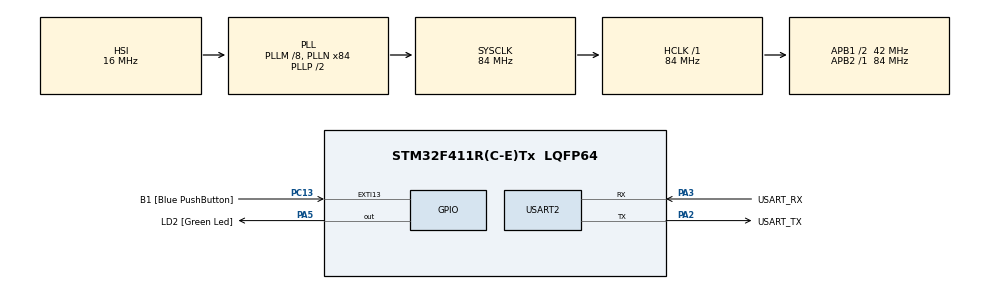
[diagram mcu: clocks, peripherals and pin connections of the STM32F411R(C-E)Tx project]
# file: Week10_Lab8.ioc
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Mcu.Family=STM32F4
PC15-OSC32_OUT.Mode=LSE-External-Oscillator
RCC.CortexFreq_Value=84000000
PC13-ANTI_TAMP.GPIO_PuPd=GPIO_PULLUP
PC13-ANTI_TAMP.GPIO_Label=B1 [Blue PushButton]
PA14.GPIO_Label=TCK
PH1\ -\ OSC_OUT.Mode=HSE-External-Clock-Source
RCC.APB1CLKDivider=RCC_HCLK_DIV2
PC14-OSC32_IN.Signal=RCC_OSC32_IN
NVIC.USART2_IRQn=true\:0\:0\:false\:false\:true\:true\:true
RCC.SYSCLKSource=RCC_SYSCLKSOURCE_PLLCLK
ProjectManager.StackSize=0x400
PA13.Signal=SYS_JTMS-SWDIO
PA3.Mode=Asynchronous
PH0\ -\ OSC_IN.Mode=HSE-External-Clock-Source
PH0\ -\ OSC_IN.Signal=RCC_OSC_IN
ProjectManager.TargetToolchain=STM32CubeIDE
RCC.HCLKFreq_Value=84000000
RCC.APB2TimFreq_Value=84000000
PC15-OSC32_OUT.Signal=RCC_OSC32_OUT
RCC.AHBFreq_Value=84000000
NVIC.EXTI15_10_IRQn=true\:0\:0\:false\:false\:true\:true\:true
PA5.Signal=GPIO_Output
RCC.HSE_VALUE=8000000
PH1\ -\ OSC_OUT.Signal=RCC_OSC_OUT
board=NUCLEO-F411RE
PC13-ANTI_TAMP.Signal=GPXTI13
RCC.VCOOutputFreq_Value=168000000
RCC.APB2Freq_Value=84000000
PC14-OSC32_IN.Mode=LSE-External-Oscillator
PA14.Mode=Serial_Wire
PA13.Mode=Serial_Wire
Mcu.Name=STM32F411R(C-E)Tx
PA2.Signal=USART2_TX
PA13.GPIO_Label=TMS
RCC.FLatency-AdvancedSettings=FLASH_LATENCY_2
RCC.48MHZClocksFreq_Value=42000000
PB3.Signal=SYS_JTDO-SWO
RCC.SYSCLKFreq_VALUE=84000000
Mcu.Package=LQFP64
PA5.GPIO_Label=LD2 [Green Led]
USART2.VirtualMode=VM_ASYNC
PC13-ANTI_TAMP.GPIO_ModeDefaultEXTI=GPIO_MODE_IT_RISING_FALLING
PA2.GPIO_Label=USART_TX
PA14.Signal=SYS_JTCK-SWCLK
ProjectManager.HeapSize=0x200
RCC.HSI_VALUE=16000000
NVIC.PriorityGroup=NVIC_PRIORITYGROUP_0
RCC.PLLM=8
RCC.PLLN=84
RCC.APB1TimFreq_Value=84000000
PA2.Mode=Asynchronous
RCC.APB1Freq_Value=42000000
PA3.GPIO_Label=USART_RX
PA3.Signal=USART2_RX
PB3.GPIO_Label=SWO

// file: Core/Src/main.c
/* USER CODE BEGIN Header */
/**
 ******************************************************************************
 * @file           : main.c
 * @brief          : Main program body
 ******************************************************************************
 * @attention
 *
 * <h2><center>&copy; Copyright (c) 2021 STMicroelectronics.
 * All rights reserved.</center></h2>
 *
 * This software component is licensed by ST under BSD 3-Clause license,
 * the "License"; You may not use this file except in compliance with the
 * License. You may obtain a copy of the License at:
 *                        opensource.org/licenses/BSD-3-Clause
 *
 ******************************************************************************
 */
/* USER CODE END Header */
#include "main.h"

/* USER CODE BEGIN Includes */
#include <stdio.h>//sprintf
#include <string.h>//strlenght
/* USER CODE END Includes */

UART_HandleTypeDef huart2;

/* USER CODE BEGIN PV */

char LEDFrequency[20] = { 0 };
char TxDataBuffer[32] = { 0 };
char RxDataBuffer[32] = { 0 };
enum _StateDisplay {
	State_Start = 0,
	State_Mainmenu_Print = 10,
	State_Mainmenu_Wait,
	State_LEDMenu_Print,
	State_LEDMenu_Wait,
	State_ButtonMenu_Print = 20,
	State_ButtonMenu_Wait
};

uint8_t STATE = 0;
float f = 1;
uint32_t LED_HalfPeriod = 500 ;
uint32_t TimeStamp = 0;
uint8_t LEDBlink = 0;

uint8_t Freq = 0;
uint8_t Interrupt = 1;
/* USER CODE END PV */

void SystemClock_Config(void);
static void MX_GPIO_Init(void);
static void MX_USART2_UART_Init(void);
/* USER CODE BEGIN PFP */
void UARTRecieveAndResponsePolling();
int16_t UARTRecieveIT();
int16_t UARTRecieveIT();
/* USER CODE END PFP */

int main(void)
{

  /* MCU Configuration--------------------------------------------------------*/

  /* Reset of all peripherals, Initializes the Flash interface and the Systick. */
  HAL_Init();

  /* Configure the system clock */
  SystemClock_Config();

  /* Initialize all configured peripherals */
  MX_GPIO_Init();
  MX_USART2_UART_Init();
  /* USER CODE BEGIN 2 */

	HAL_GPIO_WritePin(LD2_GPIO_Port, LD2_Pin, RESET);
  /* USER CODE END 2 */

  /* Infinite loop */
	while (1) {

    /* USER CODE BEGIN 3 */

		/*Method 2 Interrupt Mode*/
		HAL_UART_Receive_IT(&huart2, (uint8_t*) RxDataBuffer, 32);

		/*Method 2 W/ 1 Char Received*/
		int16_t inputchar = UARTRecieveIT();

		switch (STATE) {

		case State_Start:
			STATE = State_Mainmenu_Print;
			break;

		case State_Mainmenu_Print:

		{
			char Mainmenu[] =
					"Main Menu\r\n 0.LED Control\r\n 1.Button Status\r\n";
			HAL_UART_Transmit(&huart2, (uint8_t*) Mainmenu, strlen(Mainmenu),
					100);
		}

			STATE = State_Mainmenu_Wait;
			break;

		case State_Mainmenu_Wait:

			if(inputchar != -1){

				switch (inputchar)
				{
				case 0:
					break;
				case '0':
					STATE = State_LEDMenu_Print;
					break;
				case '1':
					STATE = State_ButtonMenu_Print;
					break;
				default:
					HAL_UART_Transmit(&huart2, (uint8_t*) "unidentified input\r\n", strlen("unidentified input\r\n"),1000);
					STATE = State_Mainmenu_Print;
					break;

				}

			}

			break;

		case State_LEDMenu_Print:

		{
			char LEDmenu[] =
					"LED Control\r\n a.Speed Up +1Hz\r\n s.SpeedDown-1Hz\r\n d.ON/OFF\r\n x.back\r\n";
			HAL_UART_Transmit(&huart2, (uint8_t*) LEDmenu, strlen(LEDmenu),
					100);
		}
			STATE = State_LEDMenu_Wait;

			break;

		case State_LEDMenu_Wait:

			if(inputchar != -1){
				switch (inputchar)
				{
					case 0:
						break;
					case 'a':
						f+=1;
						LED_HalfPeriod = ((1/f)/2)/0.001;

						Freq = f ;
						sprintf(LEDFrequency, "LEDFrequency:[%u]Hz\r\n",Freq);

						HAL_UART_Transmit(&huart2, (uint8_t*) LEDFrequency, strlen(LEDFrequency),1000);

						STATE = State_LEDMenu_Wait;
						break;
					case 's':
						if (f>0)
						{
						  f-=1;
						  LED_HalfPeriod= (((1/f)/2)/0.001);

						 }

						Freq = f ;
						sprintf(LEDFrequency, "LEDFrequency:[%u]Hz\r\n",Freq);
						HAL_UART_Transmit(&huart2, (uint8_t*) LEDFrequency, strlen(LEDFrequency),1000);
						STATE = State_LEDMenu_Wait;
						break;
					case 'd':
						if(LEDBlink == 0 )
						{
							LEDBlink = 1;
							HAL_UART_Transmit(&huart2, (uint8_t*) "LED ON\r\n", strlen("LED ON\r\n"),1000);
						}
						else if (LEDBlink == 1)
						{
							HAL_GPIO_WritePin(LD2_GPIO_Port, LD2_Pin,RESET);
							HAL_UART_Transmit(&huart2, (uint8_t*) "LED OFF\r\n", strlen("LED OFF\r\n"),1000);
							LEDBlink = 0;
						}
						STATE = State_LEDMenu_Wait;
						break;
					case 'x':
						STATE = State_Mainmenu_Print;
						break;
					default:
						HAL_UART_Transmit(&huart2, (uint8_t*) "unidentified input\r\n", strlen("unidentified input\r\n"),1000);
						STATE = State_LEDMenu_Print;
						break;
				}
			}
			break;

			case State_ButtonMenu_Print:

						HAL_UART_Transmit(&huart2, (uint8_t*) "x.back\r\n", strlen("x.back\r\n"),
								100);
					STATE = State_ButtonMenu_Wait;
				break;

			case State_ButtonMenu_Wait:

				if(inputchar != -1){
					switch (inputchar)
					{
					case 0:
						break;
					case 'x':
						STATE = State_Mainmenu_Print;
						break;
					default:
						HAL_UART_Transmit(&huart2, (uint8_t*) "unidentified input\r\n", strlen("unidentified input\r\n"),1000);
						STATE = State_ButtonMenu_Print;
						break;
					}
				}
				if(Interrupt ==1)
				{
					if(HAL_GPIO_ReadPin(B1_GPIO_Port, B1_Pin) == 1)
					{
						char stateB[]="Status of button:Unpress\r\n";
						HAL_UART_Transmit(&huart2, (uint8_t*)stateB, strlen(stateB),1000);
					}
					else
					{
						char stateB[]="Status of button:Press\r\n";
						HAL_UART_Transmit(&huart2, (uint8_t*)stateB, strlen(stateB),1000);
					}
					Interrupt = 0;
				}
				break;
		}

		if (LEDBlink == 1)
		{
			if (HAL_GetTick() - TimeStamp >= LED_HalfPeriod)

				{
					HAL_GPIO_TogglePin(LD2_GPIO_Port, LD2_Pin);
					TimeStamp = HAL_GetTick();

				}
		}

	}
  /* USER CODE END 3 */
}

void SystemClock_Config(void)
{
  RCC_OscInitTypeDef RCC_OscInitStruct = {0};
  RCC_ClkInitTypeDef RCC_ClkInitStruct = {0};

  /** Configure the main internal regulator output voltage
  */
  __HAL_RCC_PWR_CLK_ENABLE();
  __HAL_PWR_VOLTAGESCALING_CONFIG(PWR_REGULATOR_VOLTAGE_SCALE1);
  /** Initializes the RCC Oscillators according to the specified parameters
  * in the RCC_OscInitTypeDef structure.
  */
  RCC_OscInitStruct.OscillatorType = RCC_OSCILLATORTYPE_HSI;
  RCC_OscInitStruct.HSIState = RCC_HSI_ON;
  RCC_OscInitStruct.HSICalibrationValue = RCC_HSICALIBRATION_DEFAULT;
  RCC_OscInitStruct.PLL.PLLState = RCC_PLL_ON;
  RCC_OscInitStruct.PLL.PLLSource = RCC_PLLSOURCE_HSI;
  RCC_OscInitStruct.PLL.PLLM = 8;
  RCC_OscInitStruct.PLL.PLLN = 84;
  RCC_OscInitStruct.PLL.PLLP = RCC_PLLP_DIV2;
  RCC_OscInitStruct.PLL.PLLQ = 4;
  if (HAL_RCC_OscConfig(&RCC_OscInitStruct) != HAL_OK)
  {
    Error_Handler();
  }
  /** Initializes the CPU, AHB and APB buses clocks
  */
  RCC_ClkInitStruct.ClockType = RCC_CLOCKTYPE_HCLK|RCC_CLOCKTYPE_SYSCLK
                              |RCC_CLOCKTYPE_PCLK1|RCC_CLOCKTYPE_PCLK2;
  RCC_ClkInitStruct.SYSCLKSource = RCC_SYSCLKSOURCE_PLLCLK;
  RCC_ClkInitStruct.AHBCLKDivider = RCC_SYSCLK_DIV1;
  RCC_ClkInitStruct.APB1CLKDivider = RCC_HCLK_DIV2;
  RCC_ClkInitStruct.APB2CLKDivider = RCC_HCLK_DIV1;

  if (HAL_RCC_ClockConfig(&RCC_ClkInitStruct, FLASH_LATENCY_2) != HAL_OK)
  {
    Error_Handler();
  }
}

static void MX_USART2_UART_Init(void)
{

  huart2.Instance = USART2;
  huart2.Init.BaudRate = 115200;
  huart2.Init.WordLength = UART_WORDLENGTH_8B;
  huart2.Init.StopBits = UART_STOPBITS_1;
  huart2.Init.Parity = UART_PARITY_NONE;
  huart2.Init.Mode = UART_MODE_TX_RX;
  huart2.Init.HwFlowCtl = UART_HWCONTROL_NONE;
  huart2.Init.OverSampling = UART_OVERSAMPLING_16;
  if (HAL_UART_Init(&huart2) != HAL_OK)
  {
    Error_Handler();
  }

}

static void MX_GPIO_Init(void)
{
  GPIO_InitTypeDef GPIO_InitStruct = {0};

  /* GPIO Ports Clock Enable */
  __HAL_RCC_GPIOC_CLK_ENABLE();
  __HAL_RCC_GPIOH_CLK_ENABLE();
  __HAL_RCC_GPIOA_CLK_ENABLE();
  __HAL_RCC_GPIOB_CLK_ENABLE();

  /*Configure GPIO pin Output Level */
  HAL_GPIO_WritePin(LD2_GPIO_Port, LD2_Pin, GPIO_PIN_RESET);

  /*Configure GPIO pin : B1_Pin */
  GPIO_InitStruct.Pin = B1_Pin;
  GPIO_InitStruct.Mode = GPIO_MODE_IT_RISING_FALLING;
  GPIO_InitStruct.Pull = GPIO_PULLUP;
  HAL_GPIO_Init(B1_GPIO_Port, &GPIO_InitStruct);

  /*Configure GPIO pin : LD2_Pin */
  GPIO_InitStruct.Pin = LD2_Pin;
  GPIO_InitStruct.Mode = GPIO_MODE_OUTPUT_PP;
  GPIO_InitStruct.Pull = GPIO_NOPULL;
  GPIO_InitStruct.Speed = GPIO_SPEED_FREQ_LOW;
  HAL_GPIO_Init(LD2_GPIO_Port, &GPIO_InitStruct);

  /* EXTI interrupt init*/
  HAL_NVIC_SetPriority(EXTI15_10_IRQn, 0, 0);
  HAL_NVIC_EnableIRQ(EXTI15_10_IRQn);

}

/* USER CODE BEGIN 4 */
int16_t UARTRecieveIT() {
	//store data last position
	static uint32_t dataPos = 0;

	//create dummy data
	int16_t data = -1;

	//check pos in buffer vs last position
	if (huart2.RxXferSize - huart2.RxXferCount != dataPos)
			{
		//read data from buffer
		data = RxDataBuffer[dataPos];
		//move to next pos
		dataPos = (dataPos + 1) % huart2.RxXferSize;
	}
	return data;
}

void HAL_GPIO_EXTI_Callback(uint16_t GPIO_Pin) {
	if (GPIO_Pin == GPIO_PIN_13)
	{
			Interrupt = 1;
	}
}
/* USER CODE END 4 */

void Error_Handler(void)
{
	__disable_irq();
	while (1) {
	}
}

/************************ (C) COPYRIGHT STMicroelectronics *****END OF FILE****/
